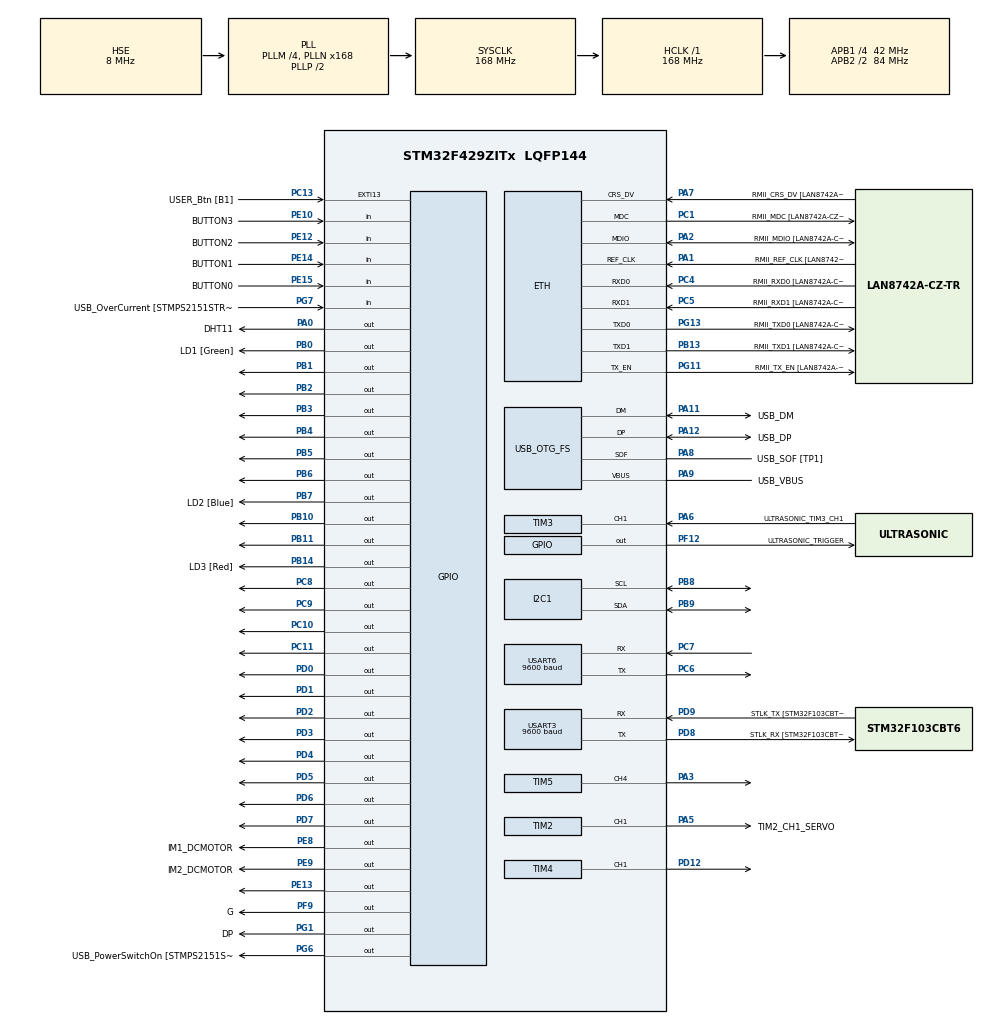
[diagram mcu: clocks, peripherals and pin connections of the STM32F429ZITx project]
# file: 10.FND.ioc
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ETH.MediaInterface=HAL_ETH_RMII_MODE
ETH.PHY_Name=LAN8742A_PHY_ADDRESS
ETH.PHY_Value=0
ETH.PhyAddress=0
Mcu.Family=STM32F4
Mcu.Name=STM32F429ZITx
Mcu.Package=LQFP144
NVIC.PriorityGroup=NVIC_PRIORITYGROUP_4
NVIC.TIM1_TRG_COM_TIM11_IRQn=true\:0\:0\:false\:false\:true\:true\:true\:true
NVIC.TIM1_UP_TIM10_IRQn=true\:0\:0\:false\:false\:true\:true\:true\:true
NVIC.TIM2_IRQn=true\:0\:0\:false\:false\:true\:true\:true\:true
NVIC.TIM3_IRQn=true\:0\:0\:false\:false\:true\:true\:true\:true
NVIC.TIM4_IRQn=true\:0\:0\:false\:false\:true\:true\:true\:true
NVIC.TIM5_IRQn=true\:0\:0\:false\:false\:true\:true\:true\:true
NVIC.USART3_IRQn=true\:0\:0\:false\:false\:true\:true\:true\:true
NVIC.USART6_IRQn=true\:0\:0\:false\:false\:true\:true\:true\:true
PA0/WKUP.GPIO_Label=DHT11
PA0/WKUP.Signal=GPIO_Output
PA1.GPIO_Label=RMII_REF_CLK [LAN8742A-CZ-TR_REFCLK0]
PA1.Mode=RMII
PA1.Signal=ETH_REF_CLK
PA10.GPIO_Label=USB_ID
PA10.Signal=USB_OTG_FS_ID
PA11.GPIO_Label=USB_DM
PA11.Mode=Device_Only
PA11.Signal=USB_OTG_FS_DM
PA12.GPIO_Label=USB_DP
PA12.Mode=Device_Only
PA12.Signal=USB_OTG_FS_DP
PA13.GPIO_Label=TMS
PA13.Mode=Serial_Wire
PA13.Signal=SYS_JTMS-SWDIO
PA14.GPIO_Label=TCK
PA14.Mode=Serial_Wire
PA14.Signal=SYS_JTCK-SWCLK
PA2.GPIO_Label=RMII_MDIO [LAN8742A-CZ-TR_MDIO]
PA2.Mode=RMII
PA2.Signal=ETH_MDIO
PA3.Signal=S_TIM5_CH4
PA5.GPIO_Label=TIM2_CH1_SERVO
PA5.Signal=S_TIM2_CH1_ETR
PA6.GPIO_Label=ULTRASONIC_TIM3_CH1
PA6.Signal=S_TIM3_CH1
PA7.GPIO_Label=RMII_CRS_DV [LAN8742A-CZ-TR_CRS_DV]
PA7.Mode=RMII
PA7.Signal=ETH_CRS_DV
PA8.GPIO_Label=USB_SOF [TP1]
PA8.Mode=Activate_SOF_FS
PA8.Signal=USB_OTG_FS_SOF
PA9.GPIO_Label=USB_VBUS
PA9.Mode=Activate_VBUS
PA9.Signal=USB_OTG_FS_VBUS
PB0.GPIO_Label=LD1 [Green]
PB0.Signal=GPIO_Output
PB1.Signal=GPIO_Output
PB10.Signal=GPIO_Output
PB11.Signal=GPIO_Output
PB13.GPIO_Label=RMII_TXD1 [LAN8742A-CZ-TR_TXD1]
PB13.Mode=RMII
PB13.Signal=ETH_TXD1
PB14.GPIO_Label=LD3 [Red]
PB14.Signal=GPIO_Output
PB2/BOOT1.Signal=GPIO_Output
PB3.Signal=GPIO_Output
PB4.Signal=GPIO_Output
PB5.Signal=GPIO_Output
PB6.Signal=GPIO_Output
PB7.GPIO_Label=LD2 [Blue]
PB7.Signal=GPIO_Output
PB8.Mode=I2C
PB8.Signal=I2C1_SCL
PB9.Mode=I2C
PB9.Signal=I2C1_SDA
PC1.GPIO_Label=RMII_MDC [LAN8742A-CZ-TR_MDC]
PC1.Mode=RMII
PC1.Signal=ETH_MDC
PC10.Signal=GPIO_Output
PC11.Signal=GPIO_Output
PC13.GPIO_Label=USER_Btn [B1]
PC13.Signal=GPXTI13
PC14/OSC32_IN.Mode=LSE-External-Oscillator
PC14/OSC32_IN.Signal=RCC_OSC32_IN
PC15/OSC32_OUT.Mode=LSE-External-Oscillator
PC15/OSC32_OUT.Signal=RCC_OSC32_OUT
PC4.GPIO_Label=RMII_RXD0 [LAN8742A-CZ-TR_RXD0]
PC4.Mode=RMII
PC4.Signal=ETH_RXD0
PC5.GPIO_Label=RMII_RXD1 [LAN8742A-CZ-TR_RXD1]
PC5.Mode=RMII
PC5.Signal=ETH_RXD1
PC6.Mode=Asynchronous
PC6.Signal=USART6_TX
PC7.Mode=Asynchronous
PC7.Signal=USART6_RX
PC8.Signal=GPIO_Output
PC9.Signal=GPIO_Output
PD0.Signal=GPIO_Output
PD1.Signal=GPIO_Output
PD12.Signal=S_TIM4_CH1
PD2.Signal=GPIO_Output
PD3.Signal=GPIO_Output
PD4.Signal=GPIO_Output
PD5.Signal=GPIO_Output
PD6.Signal=GPIO_Output
PD7.Signal=GPIO_Output
PD8.GPIO_Label=STLK_RX [STM32F103CBT6_PA3]
PD8.Mode=Asynchronous
PD8.Signal=USART3_TX
PD9.GPIO_Label=STLK_TX [STM32F103CBT6_PA2]
PD9.Mode=Asynchronous
PD9.Signal=USART3_RX
PE10.GPIO_Label=BUTTON3
PE10.Signal=GPIO_Input
PE12.GPIO_Label=BUTTON2
PE12.Signal=GPIO_Input
PE13.Signal=GPIO_Output
PE14.GPIO_Label=BUTTON1
PE14.Signal=GPIO_Input
PE15.GPIO_Label=BUTTON0
PE15.Signal=GPIO_Input
PE8.GPIO_Label=IM1_DCMOTOR
PE8.Signal=GPIO_Output
PE9.GPIO_Label=IM2_DCMOTOR
PE9.Signal=GPIO_Output
PF12.GPIO_Label=ULTRASONIC_TRIGGER
PF12.Signal=GPIO_Output
PF9.GPIO_Label=G
PF9.Signal=GPIO_Output
PG1.GPIO_Label=DP
PG1.Signal=GPIO_Output
PG11.GPIO_Label=RMII_TX_EN [LAN8742A-CZ-TR_TXEN]
PG11.Mode=RMII
PG11.Signal=ETH_TX_EN
PG13.GPIO_Label=RMII_TXD0 [LAN8742A-CZ-TR_TXD0]
PG13.Mode=RMII
PG13.Signal=ETH_TXD0
PG6.GPIO_Label=USB_PowerSwitchOn [STMPS2151STR_EN]
PG6.Signal=GPIO_Output
PG7.GPIO_Label=USB_OverCurrent [STMPS2151STR_FAULT]
PG7.Signal=GPIO_Input
PH0/OSC_IN.GPIO_Label=MCO [STM32F103CBT6_PA8]
PH0/OSC_IN.Mode=HSE-External-Clock-Source
PH0/OSC_IN.Signal=RCC_OSC_IN
PH1/OSC_OUT.Mode=HSE-External-Clock-Source
PH1/OSC_OUT.Signal=RCC_OSC_OUT
ProjectManager.HeapSize=0x200
ProjectManager.StackSize=0x400
ProjectManager.TargetToolchain=STM32CubeIDE
RCC.48MHZClocksFreq_Value=48000000
RCC.AHBFreq_Value=168000000
RCC.APB1CLKDivider=RCC_HCLK_DIV4
RCC.APB1Freq_Value=42000000
RCC.APB1TimFreq_Value=84000000
RCC.APB2CLKDivider=RCC_HCLK_DIV2
RCC.APB2Freq_Value=84000000
RCC.APB2TimCLKDivider=2
RCC.APB2TimFreq_Value=168000000
RCC.CortexFreq_Value=168000000
RCC.HCLKFreq_Value=168000000
RCC.HSE_VALUE=8000000
RCC.HSI_VALUE=16000000
RCC.PLLM=4
RCC.PLLMUL=RCC_PLL_MUL9
RCC.PLLN=168
RCC.PLLQ=7
RCC.PRESCALERUSB=RCC_USBCLKSOURCE_PLL_DIV1_5
RCC.SYSCLKFreq_VALUE=168000000
RCC.SYSCLKSource=RCC_SYSCLKSOURCE_PLLCLK
RCC.SYSCLKSourceVirtual=RCC_SYSCLKSOURCE_PLLCLK
RCC.USBFreq_Value=48000000
RCC.VCOOutputFreq_Value=336000000
RTC.Date=16
RTC.Hours=9
RTC.Minutes=38
RTC.Month=RTC_MONTH_OCTOBER
RTC.Year=23
SH.S_TIM2_CH1_ETR.0=TIM2_CH1,PWM Generation1 CH1
SH.S_TIM3_CH1.0=TIM3_CH1,Input_Capture1_from_TI1
SH.S_TIM4_CH1.0=TIM4_CH1,PWM Generation1 CH1
SH.S_TIM5_CH4.0=TIM5_CH4,PWM Generation4 CH4
TIM10.Period=10000-1
TIM10.Prescaler=168-1
TIM11.Prescaler=168-1
TIM2.Channel-PWM\ Generation1\ CH1=TIM_CHANNEL_1
TIM2.Period=1000-1
TIM2.Prescaler=1680-1
TIM2.Pulse-PWM\ Generation1\ CH1=500-1
TIM3.Channel-Input_Capture1_from_TI1=TIM_CHANNEL_1
TIM3.ICPolarity_CH1=TIM_INPUTCHANNELPOLARITY_BOTHEDGE
TIM3.Prescaler=84-1
TIM4.Channel-PWM\ Generation1\ CH1=TIM_CHANNEL_1
TIM4.OCFastMode_PWM-PWM\ Generation1\ CH1=TIM_OCFAST_ENABLE
TIM4.Period=100-1
TIM4.Prescaler=840-1
TIM4.Pulse-PWM\ Generation1\ CH1=70-1
TIM5.Channel-PWM\ Generation4\ CH4=TIM_CHANNEL_4
TIM5.Period=400-1
TIM5.Prescaler=52.5-1
TIM5.Pulse-PWM\ Generation4\ CH4=200-1
USART3.BaudRate=9600
USART3.VirtualMode=VM_ASYNC
USART6.BaudRate=9600
USART6.VirtualMode=VM_ASYNC
USB_OTG_FS.VirtualMode=Device_Only
VP_RTC_VS_RTC_Activate.Mode=RTC_Enabled
VP_RTC_VS_RTC_Calendar.Mode=RTC_Calendar
VP_TIM10_VS_ClockSourceINT.Mode=Enable_Timer
VP_TIM11_VS_ClockSourceINT.Mode=Enable_Timer
VP_TIM3_VS_ClockSourceINT.Mode=Internal
VP_TIM4_VS_ClockSourceINT.Mode=Internal
VP_TIM5_VS_ClockSourceINT.Mode=Internal
board=NUCLEO-F429ZI

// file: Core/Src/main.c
/* USER CODE BEGIN Header */
/**
  ******************************************************************************
  * @file           : main.c
  * @brief          : Main program body
  ******************************************************************************
  * @attention
  *
  * Copyright (c) 2023 STMicroelectronics.
  * All rights reserved.
  *
  * This software is licensed under terms that can be found in the LICENSE file
  * in the root directory of this software component.
  * If no LICENSE file comes with this software, it is provided AS-IS.
  *
  ******************************************************************************
  */
/* USER CODE END Header */
#include "main.h"
#include "string.h"

ETH_TxPacketConfig TxConfig;
ETH_DMADescTypeDef  DMARxDscrTab[ETH_RX_DESC_CNT]; /* Ethernet Rx DMA Descriptors */
ETH_DMADescTypeDef  DMATxDscrTab[ETH_TX_DESC_CNT]; /* Ethernet Tx DMA Descriptors */

ETH_HandleTypeDef heth;

I2C_HandleTypeDef hi2c1;

RTC_HandleTypeDef hrtc;

TIM_HandleTypeDef htim2;
TIM_HandleTypeDef htim3;
TIM_HandleTypeDef htim4;
TIM_HandleTypeDef htim5;
TIM_HandleTypeDef htim10;
TIM_HandleTypeDef htim11;

UART_HandleTypeDef huart3;
UART_HandleTypeDef huart6;

PCD_HandleTypeDef hpcd_USB_OTG_FS;

/* USER CODE BEGIN PV */
uint8_t rx_data; //uart3 rx data
uint8_t bt_rx_data; //uart6 bt rx data
/* USER CODE END PV */

void SystemClock_Config(void);
static void MX_GPIO_Init(void);
static void MX_ETH_Init(void);
static void MX_USART3_UART_Init(void);
static void MX_USB_OTG_FS_PCD_Init(void);
static void MX_USART6_UART_Init(void);
static void MX_TIM10_Init(void);
static void MX_TIM11_Init(void);
static void MX_I2C1_Init(void);
static void MX_TIM3_Init(void);
static void MX_TIM4_Init(void);
static void MX_TIM2_Init(void);
static void MX_RTC_Init(void);
static void MX_TIM5_Init(void);
/* USER CODE BEGIN PFP */
extern void led_main(void);
extern void button_main(void);
extern void bt_command_processing(void);
extern void pc_command_processing(void);
extern void DHT11_Init(void);
extern void DHT11_processing(void);
extern void ultrasonic_processing(void);
extern void i2c_lcd_main(void);
extern void i2c_lcd_init(void);
extern void lcd_string(uint8_t *str);
extern void move_cursor(uint8_t row, uint8_t column);
extern void dcmotor_pwm_control(void);
extern void servo_motor_test(void);
extern void get_rtc(void);
extern void lcd_display_mode_select(void);
extern void set_time_button_b1(void);
extern void buzzer_main(void);
extern void fnd4digit_main(void);
void delay_us (unsigned long us);
/* USER CODE END PFP */

/* USER CODE BEGIN 0 */
// call by SysTick_Handler of stm32f4xx_it.c
// ARM default timer
// enter here every 1ms
volatile int t1ms_count = 0; //volatile : disable optimize
volatile int fnd1ms_count;
void HAL_SYSTICK_Handler(void)
{
	t1ms_count++;
	fnd1ms_count++;
}

volatile int TIM10_10ms_counter = 0;
volatile int TIM10_10ms_ultrasonic = 0;
void HAL_TIM_PeriodElapsedCallback(TIM_HandleTypeDef *htim)
{
  if(htim->Instance == TIM10)
  {
	  TIM10_10ms_counter++; // 10ms timer counter
	  TIM10_10ms_ultrasonic++; //timer for ultrasonic tirgger
  }
}

void delay_us(unsigned long us)
{
	__HAL_TIM_SET_COUNTER(&htim11,0);

	while(__HAL_TIM_GET_COUNTER(&htim11) < us)
	;
}
//----------  printf start ----------
#ifdef __GNUC__
/* With GCC, small printf (option LD Linker->Libraries->Small printf
   set to 'Yes') calls __io_putchar() */
#define PUTCHAR_PROTOTYPE int __io_putchar(int ch)
#else
#define PUTCHAR_PROTOTYPE int fputc(int ch, FILE *f)
#endif /* __GNUC_ */
/**
  * @brief  Retargets the C library printf function to the USART.
  * @param  None
  * @retval None
  */
PUTCHAR_PROTOTYPE   // Add for printf
{
  /* Place your implementation of fputc here */
  /* e.g. write a character to the USART3 and Loop until the end of transmission */
  HAL_UART_Transmit(&huart3, (uint8_t *)&ch, 1, 0xFFFF);

  return ch;
}
//----------  printf end ----------

// move from Driver/STM32F4xx_HAL_Driver/stm32f4xx_hal_tim.c to here
// enter here every timer INT occurs
// interrupt match var = volatile

/* USER CODE END 0 */

int main(void)
{

  /* MCU Configuration--------------------------------------------------------*/

  /* Reset of all peripherals, Initializes the Flash interface and the Systick. */
  HAL_Init();

  /* Configure the system clock */
  SystemClock_Config();

  /* Initialize all configured peripherals */
  MX_GPIO_Init();
  MX_ETH_Init();
  MX_USART3_UART_Init();
  MX_USB_OTG_FS_PCD_Init();
  MX_USART6_UART_Init();
  MX_TIM10_Init();
  MX_TIM11_Init();
  MX_I2C1_Init();
  MX_TIM3_Init();
  MX_TIM4_Init();
  MX_TIM2_Init();
  MX_RTC_Init();
  MX_TIM5_Init();
  /* USER CODE BEGIN 2 */
  printf("main() start!!\n");
  HAL_UART_Receive_IT(&huart3, &rx_data, 1); // assing to RX INT
  HAL_UART_Receive_IT(&huart6, &bt_rx_data, 1);// for BT assing to RX INT
  HAL_TIM_Base_Start_IT(&htim10); // ADD_GYUWON_1011 start time_interrupt_function
  HAL_TIM_Base_Start_IT(&htim11); // ADD_GYUWON_1011 start time_interrupt_function
  HAL_TIM_IC_Start_IT(&htim3, TIM_CHANNEL_1); // for count pulse(InputCapture between rising edge & falling edge)
  HAL_TIM_PWM_Start_IT(&htim4, TIM_CHANNEL_1); //for DC motor PWM control
  HAL_TIM_PWM_Start(&htim2, TIM_CHANNEL_1); // for SERVO motor PWM control
  HAL_TIM_PWM_Start(&htim4, TIM_CHANNEL_4); // PIEZO Buzzer

  DHT11_Init();
  i2c_lcd_init();
  fnd4digit_main();
//	i2c_lcd_main();
// led_main();
  //servo_motor_test_main();
 // DHT11_main();
  /* USER CODE END 2 */

  /* Infinite loop */
  /* USER CODE BEGIN WHILE */
  TIM10_10ms_counter = 0;
  while (1)
  {
	  get_rtc();

	  //dcmotor_pwm_control();

	  pc_command_processing();

	  DHT11_processing();

	  ultrasonic_processing();

	  bt_command_processing();

	  lcd_display_mode_select();

	  set_time_button_b1();

  }
    /* USER CODE END WHILE */

}

void SystemClock_Config(void)
{
  RCC_OscInitTypeDef RCC_OscInitStruct = {0};
  RCC_ClkInitTypeDef RCC_ClkInitStruct = {0};

  /** Configure the main internal regulator output voltage
  */
  __HAL_RCC_PWR_CLK_ENABLE();
  __HAL_PWR_VOLTAGESCALING_CONFIG(PWR_REGULATOR_VOLTAGE_SCALE1);

  /** Initializes the RCC Oscillators according to the specified parameters
  * in the RCC_OscInitTypeDef structure.
  */
  RCC_OscInitStruct.OscillatorType = RCC_OSCILLATORTYPE_LSI|RCC_OSCILLATORTYPE_HSE;
  RCC_OscInitStruct.HSEState = RCC_HSE_BYPASS;
  RCC_OscInitStruct.LSIState = RCC_LSI_ON;
  RCC_OscInitStruct.PLL.PLLState = RCC_PLL_ON;
  RCC_OscInitStruct.PLL.PLLSource = RCC_PLLSOURCE_HSE;
  RCC_OscInitStruct.PLL.PLLM = 4;
  RCC_OscInitStruct.PLL.PLLN = 168;
  RCC_OscInitStruct.PLL.PLLP = RCC_PLLP_DIV2;
  RCC_OscInitStruct.PLL.PLLQ = 7;
  if (HAL_RCC_OscConfig(&RCC_OscInitStruct) != HAL_OK)
  {
    Error_Handler();
  }

  /** Initializes the CPU, AHB and APB buses clocks
  */
  RCC_ClkInitStruct.ClockType = RCC_CLOCKTYPE_HCLK|RCC_CLOCKTYPE_SYSCLK
                              |RCC_CLOCKTYPE_PCLK1|RCC_CLOCKTYPE_PCLK2;
  RCC_ClkInitStruct.SYSCLKSource = RCC_SYSCLKSOURCE_PLLCLK;
  RCC_ClkInitStruct.AHBCLKDivider = RCC_SYSCLK_DIV1;
  RCC_ClkInitStruct.APB1CLKDivider = RCC_HCLK_DIV4;
  RCC_ClkInitStruct.APB2CLKDivider = RCC_HCLK_DIV2;

  if (HAL_RCC_ClockConfig(&RCC_ClkInitStruct, FLASH_LATENCY_5) != HAL_OK)
  {
    Error_Handler();
  }
}

static void MX_ETH_Init(void)
{

   static uint8_t MACAddr[6];

  heth.Instance = ETH;
  MACAddr[0] = 0x00;
  MACAddr[1] = 0x80;
  MACAddr[2] = 0xE1;
  MACAddr[3] = 0x00;
  MACAddr[4] = 0x00;
  MACAddr[5] = 0x00;
  heth.Init.MACAddr = &MACAddr[0];
  heth.Init.MediaInterface = HAL_ETH_RMII_MODE;
  heth.Init.TxDesc = DMATxDscrTab;
  heth.Init.RxDesc = DMARxDscrTab;
  heth.Init.RxBuffLen = 1524;

  if (HAL_ETH_Init(&heth) != HAL_OK)
  {
    Error_Handler();
  }

  memset(&TxConfig, 0 , sizeof(ETH_TxPacketConfig));
  TxConfig.Attributes = ETH_TX_PACKETS_FEATURES_CSUM | ETH_TX_PACKETS_FEATURES_CRCPAD;
  TxConfig.ChecksumCtrl = ETH_CHECKSUM_IPHDR_PAYLOAD_INSERT_PHDR_CALC;
  TxConfig.CRCPadCtrl = ETH_CRC_PAD_INSERT;

}

static void MX_I2C1_Init(void)
{

  hi2c1.Instance = I2C1;
  hi2c1.Init.ClockSpeed = 100000;
  hi2c1.Init.DutyCycle = I2C_DUTYCYCLE_2;
  hi2c1.Init.OwnAddress1 = 0;
  hi2c1.Init.AddressingMode = I2C_ADDRESSINGMODE_7BIT;
  hi2c1.Init.DualAddressMode = I2C_DUALADDRESS_DISABLE;
  hi2c1.Init.OwnAddress2 = 0;
  hi2c1.Init.GeneralCallMode = I2C_GENERALCALL_DISABLE;
  hi2c1.Init.NoStretchMode = I2C_NOSTRETCH_DISABLE;
  if (HAL_I2C_Init(&hi2c1) != HAL_OK)
  {
    Error_Handler();
  }

  /** Configure Analogue filter
  */
  if (HAL_I2CEx_ConfigAnalogFilter(&hi2c1, I2C_ANALOGFILTER_ENABLE) != HAL_OK)
  {
    Error_Handler();
  }

  /** Configure Digital filter
  */
  if (HAL_I2CEx_ConfigDigitalFilter(&hi2c1, 0) != HAL_OK)
  {
    Error_Handler();
  }

}

static void MX_RTC_Init(void)
{

  RTC_TimeTypeDef sTime = {0};
  RTC_DateTypeDef sDate = {0};

  /** Initialize RTC Only
  */
  hrtc.Instance = RTC;
  hrtc.Init.HourFormat = RTC_HOURFORMAT_24;
  hrtc.Init.AsynchPrediv = 127;
  hrtc.Init.SynchPrediv = 255;
  hrtc.Init.OutPut = RTC_OUTPUT_DISABLE;
  hrtc.Init.OutPutPolarity = RTC_OUTPUT_POLARITY_HIGH;
  hrtc.Init.OutPutType = RTC_OUTPUT_TYPE_OPENDRAIN;
  if (HAL_RTC_Init(&hrtc) != HAL_OK)
  {
    Error_Handler();
  }

  /** Initialize RTC and set the Time and Date
  */
  sTime.Hours = 0x9;
  sTime.Minutes = 0x38;
  sTime.Seconds = 0x0;
  sTime.DayLightSaving = RTC_DAYLIGHTSAVING_NONE;
  sTime.StoreOperation = RTC_STOREOPERATION_RESET;
  if (HAL_RTC_SetTime(&hrtc, &sTime, RTC_FORMAT_BCD) != HAL_OK)
  {
    Error_Handler();
  }
  sDate.WeekDay = RTC_WEEKDAY_MONDAY;
  sDate.Month = RTC_MONTH_OCTOBER;
  sDate.Date = 0x16;
  sDate.Year = 0x23;

  if (HAL_RTC_SetDate(&hrtc, &sDate, RTC_FORMAT_BCD) != HAL_OK)
  {
    Error_Handler();
  }

}

static void MX_TIM2_Init(void)
{

  TIM_MasterConfigTypeDef sMasterConfig = {0};
  TIM_OC_InitTypeDef sConfigOC = {0};

  htim2.Instance = TIM2;
  htim2.Init.Prescaler = 1680-1;
  htim2.Init.CounterMode = TIM_COUNTERMODE_UP;
  htim2.Init.Period = 1000-1;
  htim2.Init.ClockDivision = TIM_CLOCKDIVISION_DIV1;
  htim2.Init.AutoReloadPreload = TIM_AUTORELOAD_PRELOAD_DISABLE;
  if (HAL_TIM_PWM_Init(&htim2) != HAL_OK)
  {
    Error_Handler();
  }
  sMasterConfig.MasterOutputTrigger = TIM_TRGO_RESET;
  sMasterConfig.MasterSlaveMode = TIM_MASTERSLAVEMODE_DISABLE;
  if (HAL_TIMEx_MasterConfigSynchronization(&htim2, &sMasterConfig) != HAL_OK)
  {
    Error_Handler();
  }
  sConfigOC.OCMode = TIM_OCMODE_PWM1;
  sConfigOC.Pulse = 500-1;
  sConfigOC.OCPolarity = TIM_OCPOLARITY_HIGH;
  sConfigOC.OCFastMode = TIM_OCFAST_DISABLE;
  if (HAL_TIM_PWM_ConfigChannel(&htim2, &sConfigOC, TIM_CHANNEL_1) != HAL_OK)
  {
    Error_Handler();
  }
  HAL_TIM_MspPostInit(&htim2);

}

static void MX_TIM3_Init(void)
{

  TIM_ClockConfigTypeDef sClockSourceConfig = {0};
  TIM_MasterConfigTypeDef sMasterConfig = {0};
  TIM_IC_InitTypeDef sConfigIC = {0};

  htim3.Instance = TIM3;
  htim3.Init.Prescaler = 84-1;
  htim3.Init.CounterMode = TIM_COUNTERMODE_UP;
  htim3.Init.Period = 65535;
  htim3.Init.ClockDivision = TIM_CLOCKDIVISION_DIV1;
  htim3.Init.AutoReloadPreload = TIM_AUTORELOAD_PRELOAD_DISABLE;
  if (HAL_TIM_Base_Init(&htim3) != HAL_OK)
  {
    Error_Handler();
  }
  sClockSourceConfig.ClockSource = TIM_CLOCKSOURCE_INTERNAL;
  if (HAL_TIM_ConfigClockSource(&htim3, &sClockSourceConfig) != HAL_OK)
  {
    Error_Handler();
  }
  if (HAL_TIM_IC_Init(&htim3) != HAL_OK)
  {
    Error_Handler();
  }
  sMasterConfig.MasterOutputTrigger = TIM_TRGO_RESET;
  sMasterConfig.MasterSlaveMode = TIM_MASTERSLAVEMODE_DISABLE;
  if (HAL_TIMEx_MasterConfigSynchronization(&htim3, &sMasterConfig) != HAL_OK)
  {
    Error_Handler();
  }
  sConfigIC.ICPolarity = TIM_INPUTCHANNELPOLARITY_BOTHEDGE;
  sConfigIC.ICSelection = TIM_ICSELECTION_DIRECTTI;
  sConfigIC.ICPrescaler = TIM_ICPSC_DIV1;
  sConfigIC.ICFilter = 0;
  if (HAL_TIM_IC_ConfigChannel(&htim3, &sConfigIC, TIM_CHANNEL_1) != HAL_OK)
  {
    Error_Handler();
  }

}

static void MX_TIM4_Init(void)
{

  TIM_ClockConfigTypeDef sClockSourceConfig = {0};
  TIM_MasterConfigTypeDef sMasterConfig = {0};
  TIM_OC_InitTypeDef sConfigOC = {0};

  htim4.Instance = TIM4;
  htim4.Init.Prescaler = 840-1;
  htim4.Init.CounterMode = TIM_COUNTERMODE_UP;
  htim4.Init.Period = 100-1;
  htim4.Init.ClockDivision = TIM_CLOCKDIVISION_DIV1;
  htim4.Init.AutoReloadPreload = TIM_AUTORELOAD_PRELOAD_DISABLE;
  if (HAL_TIM_Base_Init(&htim4) != HAL_OK)
  {
    Error_Handler();
  }
  sClockSourceConfig.ClockSource = TIM_CLOCKSOURCE_INTERNAL;
  if (HAL_TIM_ConfigClockSource(&htim4, &sClockSourceConfig) != HAL_OK)
  {
    Error_Handler();
  }
  if (HAL_TIM_PWM_Init(&htim4) != HAL_OK)
  {
    Error_Handler();
  }
  sMasterConfig.MasterOutputTrigger = TIM_TRGO_RESET;
  sMasterConfig.MasterSlaveMode = TIM_MASTERSLAVEMODE_DISABLE;
  if (HAL_TIMEx_MasterConfigSynchronization(&htim4, &sMasterConfig) != HAL_OK)
  {
    Error_Handler();
  }
  sConfigOC.OCMode = TIM_OCMODE_PWM1;
  sConfigOC.Pulse = 70-1;
  sConfigOC.OCPolarity = TIM_OCPOLARITY_HIGH;
  sConfigOC.OCFastMode = TIM_OCFAST_ENABLE;
  if (HAL_TIM_PWM_ConfigChannel(&htim4, &sConfigOC, TIM_CHANNEL_1) != HAL_OK)
  {
    Error_Handler();
  }
  HAL_TIM_MspPostInit(&htim4);

}

static void MX_TIM5_Init(void)
{

  TIM_ClockConfigTypeDef sClockSourceConfig = {0};
  TIM_MasterConfigTypeDef sMasterConfig = {0};
  TIM_OC_InitTypeDef sConfigOC = {0};

  htim5.Instance = TIM5;
  htim5.Init.Prescaler = 52.5-1;
  htim5.Init.CounterMode = TIM_COUNTERMODE_UP;
  htim5.Init.Period = 400-1;
  htim5.Init.ClockDivision = TIM_CLOCKDIVISION_DIV1;
  htim5.Init.AutoReloadPreload = TIM_AUTORELOAD_PRELOAD_DISABLE;
  if (HAL_TIM_Base_Init(&htim5) != HAL_OK)
  {
    Error_Handler();
  }
  sClockSourceConfig.ClockSource = TIM_CLOCKSOURCE_INTERNAL;
  if (HAL_TIM_ConfigClockSource(&htim5, &sClockSourceConfig) != HAL_OK)
  {
    Error_Handler();
  }
  if (HAL_TIM_PWM_Init(&htim5) != HAL_OK)
  {
    Error_Handler();
  }
  sMasterConfig.MasterOutputTrigger = TIM_TRGO_RESET;
  sMasterConfig.MasterSlaveMode = TIM_MASTERSLAVEMODE_DISABLE;
  if (HAL_TIMEx_MasterConfigSynchronization(&htim5, &sMasterConfig) != HAL_OK)
  {
    Error_Handler();
  }
  sConfigOC.OCMode = TIM_OCMODE_PWM1;
  sConfigOC.Pulse = 200-1;
  sConfigOC.OCPolarity = TIM_OCPOLARITY_HIGH;
  sConfigOC.OCFastMode = TIM_OCFAST_DISABLE;
  if (HAL_TIM_PWM_ConfigChannel(&htim5, &sConfigOC, TIM_CHANNEL_4) != HAL_OK)
  {
    Error_Handler();
  }
  HAL_TIM_MspPostInit(&htim5);

}

static void MX_TIM10_Init(void)
{

  htim10.Instance = TIM10;
  htim10.Init.Prescaler = 168-1;
  htim10.Init.CounterMode = TIM_COUNTERMODE_UP;
  htim10.Init.Period = 10000-1;
  htim10.Init.ClockDivision = TIM_CLOCKDIVISION_DIV1;
  htim10.Init.AutoReloadPreload = TIM_AUTORELOAD_PRELOAD_DISABLE;
  if (HAL_TIM_Base_Init(&htim10) != HAL_OK)
  {
    Error_Handler();
  }

}

static void MX_TIM11_Init(void)
{

  htim11.Instance = TIM11;
  htim11.Init.Prescaler = 168-1;
  htim11.Init.CounterMode = TIM_COUNTERMODE_UP;
  htim11.Init.Period = 65535;
  htim11.Init.ClockDivision = TIM_CLOCKDIVISION_DIV1;
  htim11.Init.AutoReloadPreload = TIM_AUTORELOAD_PRELOAD_DISABLE;
  if (HAL_TIM_Base_Init(&htim11) != HAL_OK)
  {
    Error_Handler();
  }

}

static void MX_USART3_UART_Init(void)
{

  huart3.Instance = USART3;
  huart3.Init.BaudRate = 9600;
  huart3.Init.WordLength = UART_WORDLENGTH_8B;
  huart3.Init.StopBits = UART_STOPBITS_1;
  huart3.Init.Parity = UART_PARITY_NONE;
  huart3.Init.Mode = UART_MODE_TX_RX;
  huart3.Init.HwFlowCtl = UART_HWCONTROL_NONE;
  huart3.Init.OverSampling = UART_OVERSAMPLING_16;
  if (HAL_UART_Init(&huart3) != HAL_OK)
  {
    Error_Handler();
  }

}

static void MX_USART6_UART_Init(void)
{

  huart6.Instance = USART6;
  huart6.Init.BaudRate = 9600;
  huart6.Init.WordLength = UART_WORDLENGTH_8B;
  huart6.Init.StopBits = UART_STOPBITS_1;
  huart6.Init.Parity = UART_PARITY_NONE;
  huart6.Init.Mode = UART_MODE_TX_RX;
  huart6.Init.HwFlowCtl = UART_HWCONTROL_NONE;
  huart6.Init.OverSampling = UART_OVERSAMPLING_16;
  if (HAL_UART_Init(&huart6) != HAL_OK)
  {
    Error_Handler();
  }

}

static void MX_USB_OTG_FS_PCD_Init(void)
{

  hpcd_USB_OTG_FS.Instance = USB_OTG_FS;
  hpcd_USB_OTG_FS.Init.dev_endpoints = 4;
  hpcd_USB_OTG_FS.Init.speed = PCD_SPEED_FULL;
  hpcd_USB_OTG_FS.Init.dma_enable = DISABLE;
  hpcd_USB_OTG_FS.Init.phy_itface = PCD_PHY_EMBEDDED;
  hpcd_USB_OTG_FS.Init.Sof_enable = ENABLE;
  hpcd_USB_OTG_FS.Init.low_power_enable = DISABLE;
  hpcd_USB_OTG_FS.Init.lpm_enable = DISABLE;
  hpcd_USB_OTG_FS.Init.vbus_sensing_enable = ENABLE;
  hpcd_USB_OTG_FS.Init.use_dedicated_ep1 = DISABLE;
  if (HAL_PCD_Init(&hpcd_USB_OTG_FS) != HAL_OK)
  {
    Error_Handler();
  }

}

static void MX_GPIO_Init(void)
{
  GPIO_InitTypeDef GPIO_InitStruct = {0};

  /* GPIO Ports Clock Enable */
  __HAL_RCC_GPIOC_CLK_ENABLE();
  __HAL_RCC_GPIOF_CLK_ENABLE();
  __HAL_RCC_GPIOH_CLK_ENABLE();
  __HAL_RCC_GPIOA_CLK_ENABLE();
  __HAL_RCC_GPIOB_CLK_ENABLE();
  __HAL_RCC_GPIOG_CLK_ENABLE();
  __HAL_RCC_GPIOE_CLK_ENABLE();
  __HAL_RCC_GPIOD_CLK_ENABLE();

  /*Configure GPIO pin Output Level */
  HAL_GPIO_WritePin(GPIOF, G_Pin|ULTRASONIC_TRIGGER_Pin, GPIO_PIN_RESET);

  /*Configure GPIO pin Output Level */
  HAL_GPIO_WritePin(DHT11_GPIO_Port, DHT11_Pin, GPIO_PIN_RESET);

  /*Configure GPIO pin Output Level */
  HAL_GPIO_WritePin(GPIOB, LD1_Pin|GPIO_PIN_1|GPIO_PIN_2|GPIO_PIN_10
                          |GPIO_PIN_11|LD3_Pin|GPIO_PIN_3|GPIO_PIN_4
                          |GPIO_PIN_5|GPIO_PIN_6|LD2_Pin, GPIO_PIN_RESET);

  /*Configure GPIO pin Output Level */
  HAL_GPIO_WritePin(GPIOG, DP_Pin|USB_PowerSwitchOn_Pin, GPIO_PIN_RESET);

  /*Configure GPIO pin Output Level */
  HAL_GPIO_WritePin(GPIOE, IM1_DCMOTOR_Pin|IM2_DCMOTOR_Pin|GPIO_PIN_13, GPIO_PIN_RESET);

  /*Configure GPIO pin Output Level */
  HAL_GPIO_WritePin(GPIOC, GPIO_PIN_8|GPIO_PIN_9|GPIO_PIN_10|GPIO_PIN_11, GPIO_PIN_RESET);

  /*Configure GPIO pin Output Level */
  HAL_GPIO_WritePin(GPIOD, GPIO_PIN_0|GPIO_PIN_1|GPIO_PIN_2|GPIO_PIN_3
                          |GPIO_PIN_4|GPIO_PIN_5|GPIO_PIN_6|GPIO_PIN_7, GPIO_PIN_RESET);

  /*Configure GPIO pin : USER_Btn_Pin */
  GPIO_InitStruct.Pin = USER_Btn_Pin;
  GPIO_InitStruct.Mode = GPIO_MODE_IT_RISING;
  GPIO_InitStruct.Pull = GPIO_NOPULL;
  HAL_GPIO_Init(USER_Btn_GPIO_Port, &GPIO_InitStruct);

  /*Configure GPIO pins : G_Pin ULTRASONIC_TRIGGER_Pin */
  GPIO_InitStruct.Pin = G_Pin|ULTRASONIC_TRIGGER_Pin;
  GPIO_InitStruct.Mode = GPIO_MODE_OUTPUT_PP;
  GPIO_InitStruct.Pull = GPIO_NOPULL;
  GPIO_InitStruct.Speed = GPIO_SPEED_FREQ_LOW;
  HAL_GPIO_Init(GPIOF, &GPIO_InitStruct);

  /*Configure GPIO pin : DHT11_Pin */
  GPIO_InitStruct.Pin = DHT11_Pin;
  GPIO_InitStruct.Mode = GPIO_MODE_OUTPUT_PP;
  GPIO_InitStruct.Pull = GPIO_NOPULL;
  GPIO_InitStruct.Speed = GPIO_SPEED_FREQ_LOW;
  HAL_GPIO_Init(DHT11_GPIO_Port, &GPIO_InitStruct);

  /*Configure GPIO pins : LD1_Pin PB1 PB2 PB10
                           PB11 LD3_Pin PB3 PB4
                           PB5 PB6 LD2_Pin */
  GPIO_InitStruct.Pin = LD1_Pin|GPIO_PIN_1|GPIO_PIN_2|GPIO_PIN_10
                          |GPIO_PIN_11|LD3_Pin|GPIO_PIN_3|GPIO_PIN_4
                          |GPIO_PIN_5|GPIO_PIN_6|LD2_Pin;
  GPIO_InitStruct.Mode = GPIO_MODE_OUTPUT_PP;
  GPIO_InitStruct.Pull = GPIO_NOPULL;
  GPIO_InitStruct.Speed = GPIO_SPEED_FREQ_LOW;
  HAL_GPIO_Init(GPIOB, &GPIO_InitStruct);

  /*Configure GPIO pins : DP_Pin USB_PowerSwitchOn_Pin */
  GPIO_InitStruct.Pin = DP_Pin|USB_PowerSwitchOn_Pin;
  GPIO_InitStruct.Mode = GPIO_MODE_OUTPUT_PP;
  GPIO_InitStruct.Pull = GPIO_NOPULL;
  GPIO_InitStruct.Speed = GPIO_SPEED_FREQ_LOW;
  HAL_GPIO_Init(GPIOG, &GPIO_InitStruct);

  /*Configure GPIO pins : IM1_DCMOTOR_Pin IM2_DCMOTOR_Pin PE13 */
  GPIO_InitStruct.Pin = IM1_DCMOTOR_Pin|IM2_DCMOTOR_Pin|GPIO_PIN_13;
  GPIO_InitStruct.Mode = GPIO_MODE_OUTPUT_PP;
  GPIO_InitStruct.Pull = GPIO_NOPULL;
  GPIO_InitStruct.Speed = GPIO_SPEED_FREQ_LOW;
  HAL_GPIO_Init(GPIOE, &GPIO_InitStruct);

  /*Configure GPIO pins : BUTTON3_Pin BUTTON2_Pin BUTTON1_Pin BUTTON0_Pin */
  GPIO_InitStruct.Pin = BUTTON3_Pin|BUTTON2_Pin|BUTTON1_Pin|BUTTON0_Pin;
  GPIO_InitStruct.Mode = GPIO_MODE_INPUT;
  GPIO_InitStruct.Pull = GPIO_NOPULL;
  HAL_GPIO_Init(GPIOE, &GPIO_InitStruct);

  /*Configure GPIO pin : USB_OverCurrent_Pin */
  GPIO_InitStruct.Pin = USB_OverCurrent_Pin;
  GPIO_InitStruct.Mode = GPIO_MODE_INPUT;
  GPIO_InitStruct.Pull = GPIO_NOPULL;
  HAL_GPIO_Init(USB_OverCurrent_GPIO_Port, &GPIO_InitStruct);

  /*Configure GPIO pins : PC8 PC9 PC10 PC11 */
  GPIO_InitStruct.Pin = GPIO_PIN_8|GPIO_PIN_9|GPIO_PIN_10|GPIO_PIN_11;
  GPIO_InitStruct.Mode = GPIO_MODE_OUTPUT_PP;
  GPIO_InitStruct.Pull = GPIO_NOPULL;
  GPIO_InitStruct.Speed = GPIO_SPEED_FREQ_LOW;
  HAL_GPIO_Init(GPIOC, &GPIO_InitStruct);

  /*Configure GPIO pins : PD0 PD1 PD2 PD3
                           PD4 PD5 PD6 PD7 */
  GPIO_InitStruct.Pin = GPIO_PIN_0|GPIO_PIN_1|GPIO_PIN_2|GPIO_PIN_3
                          |GPIO_PIN_4|GPIO_PIN_5|GPIO_PIN_6|GPIO_PIN_7;
  GPIO_InitStruct.Mode = GPIO_MODE_OUTPUT_PP;
  GPIO_InitStruct.Pull = GPIO_NOPULL;
  GPIO_InitStruct.Speed = GPIO_SPEED_FREQ_LOW;
  HAL_GPIO_Init(GPIOD, &GPIO_InitStruct);

}

void Error_Handler(void)
{
  __disable_irq();
  while (1)
  {
  }
}
